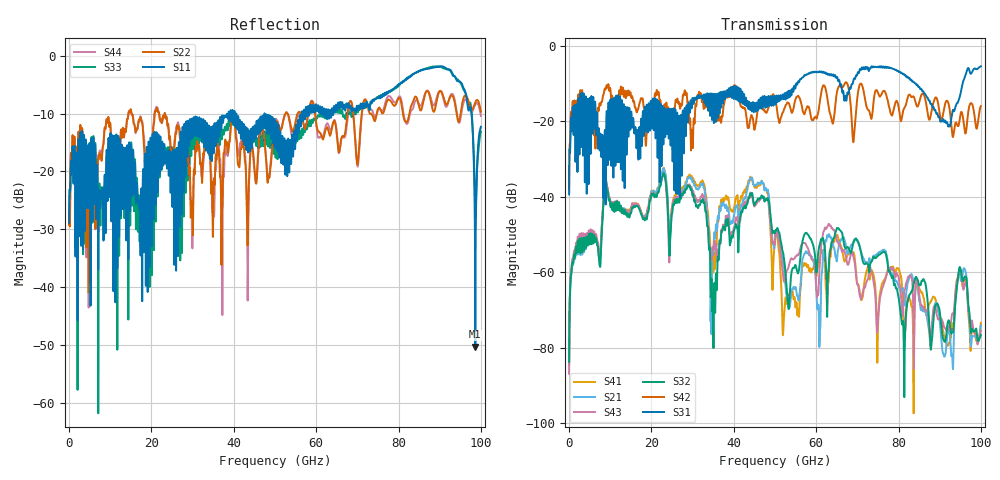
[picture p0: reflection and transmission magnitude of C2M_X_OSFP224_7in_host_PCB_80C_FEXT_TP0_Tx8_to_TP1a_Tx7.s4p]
# GHz S RI R 45
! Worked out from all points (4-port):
!   4000 points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, 25 MHz to 100 GHz, reference 45 ohm
!   strongest paths, dB at 25 MHz, 25.02 GHz, 50.02 GHz, 75.03 GHz, 100 GHz:
!     S31: -39.4, -19.4, -14.4, -5.5, -5.4
!     S42: -38.6, -22.1, -13.7, -12.5, -15.9
!     S32: -83.7, -44.4, -49.5, -55.6, -76.6
!     S43: -86.9, -42.9, -51.7, -72.2, -75.4
!     S21: -84.1, -44.0, -51.0, -54.9, -74.1
!     S41: -84.6, -42.4, -49.7, -73.9, -73.4
!   lowest |S11| = -50.3 dB at 98.65 GHz (marker M1), VSWR 1.01, Z = 45.3 + j0.0356 ohm
!   |S11| at or under -10 dB: start of sweep to 38.71 GHz; 40.23 GHz to 47.45 GHz (7.216 GHz wide, 16.5 % of centre); 47.49 GHz to 56.51 GHz (9.023 GHz wide, 17.4 % of centre)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
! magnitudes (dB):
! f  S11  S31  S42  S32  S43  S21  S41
! 25 MHz  -28.9  -39.4  -38.6  -83.7  -86.9  -84.1  -84.6
! 22.98 GHz  -17.0  -21.4  -17.9  -33.7  -33.7  -32.4  -32.3
! 35.1 GHz  -16.9  -17.2  -15.9  -75.7  -53.7  -53.4  -58.1
! 44.15 GHz  -12.7  -15.3  -18.7  -39.3  -39.5  -35.2  -35.2
! 52.12 GHz  -16.9  -14.1  -17.0  -55.8  -62.3  -58.2  -72.8
! 98.65 GHz  -50.3  -6.0  -20.2  -75.4  -76.2  -77.2  -76.9
! 100 GHz  -12.3  -5.4  -15.9  -76.6  -75.4  -74.1  -73.4
